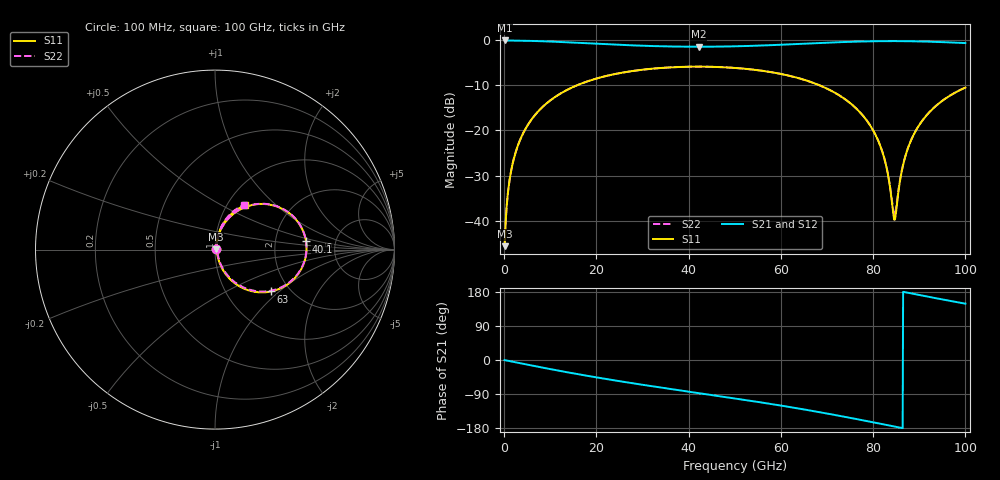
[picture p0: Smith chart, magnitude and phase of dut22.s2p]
! Touchstone file exported from HFSS 2026.1.0
!  File:  C:/ffzhzh/LocalFiles/Ansys_Project_Files/temp_train_RDL_22_1783497846_44152.aedt
!  Generated:  04:06:06 PM Jul  8, 2026
!  Design:  RDL
!  Project:  temp_train_RDL_22_1783497846_44152
! Variables:
!  h_bsmrdl = 2um
!  h_ox = 20um
!  h_rdl = 5um
!  h_sub = 80um
!  h_tmrdl = 2.05um
!  h_tsv = 80um
!  h_via = 3um
!  l_bsmrdl = 300um
!  l_sub = 1084.61um
!  l_tmrdl = 684.61um
!  m_sub = 200um
!  pitch = 52.06um
!  r_tsv = 6um
!  s_tmrdl = 10um
!  w_bsmrdl = 18um
!  w_sub = 500um
!  w_tmrdl = 28.79um
!  x_tsv_center1 = 699.005um
!  x_tsv_center2 = 1017.005um
!  x_tsv_center3 = 1730.405um
!  x_tsv_center4 = 2048.405um
!  x_tsv_center5 = 2761.805um
!  x_tsv_center6 = 3079.805um
# GHz S MA R 50.000000
! Terminal data exported
! Port[1] = TM_RDL1_1_T1
! Port[2] = TM_RDL1_1_T2
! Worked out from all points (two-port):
!   1000 points, 100 MHz to 100 GHz, reference 50 ohm
!   highest |S21| = -0.04 dB at 100 MHz (marker M1); lowest = -1.4 dB at 42.2 GHz (marker M2)
!   |S21| within 3 dB of the highest: start of sweep to end of sweep
!   lowest |S11| = -45.7 dB at 100 MHz (marker M3), VSWR 1.01, Z = 50.5 + j0.261 ohm
!   |S11| at or under -10 dB: start of sweep to 15.76 GHz; 68.41 GHz to end of sweep
!   |S22| runs from -45.7 to -5.8 dB; largest |S21 - S12| = 1.8e-14
!   S11 on the Smith chart (normalised r, x): 100 MHz: 1.01, +0.01; 40.1 GHz: 3.02, +0.37; 63 GHz: 1.61, -0.89; 100 GHz: 1.21, +0.66
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0.1  0.005212 29.7  0.9955 -0.3  0.9955 -0.3  0.005212 29.7
! Gamma 0 0 0 0
! Port Impedance 50 0 50 0
0.9  0.02213 72.5  0.9939 -2.3  0.9939 -2.3  0.02212 72.6
1.6  0.03753 76.5  0.993 -4.0  0.993 -4.0  0.03753 76.5
4.3  0.09713 75.4  0.9884 -10.5  0.9884 -10.5  0.09712 75.4
9.2  0.1997 65.4  0.9717 -22.2  0.9717 -22.2  0.1997 65.6
16.8  0.3321 49.0  0.933 -39.2  0.933 -39.2  0.3321 49.2
33.4  0.4905 17.0  0.8596 -71.7  0.8596 -71.7  0.4905 17.5
40.1  0.5092 5.1  0.8488 -83.7  0.8488 -83.7  0.5091 5.7
42.2  0.5102 1.5  0.8482 -87.4  0.8482 -87.4  0.5101 2.1
50.1  0.4934 -12.5  0.8574 -101.5  0.8574 -101.5  0.4934 -11.7
63  0.3905 -36.7  0.9061 -126.3  0.9061 -126.3  0.3904 -35.7
66.7  0.3418 -44.1  0.9243 -134.1  0.9243 -134.1  0.3417 -43.0
73.3  0.2334 -57.8  0.955 -148.7  0.955 -148.7  0.2333 -56.5
78.2  0.1377 -67.4  0.9715 -160.1  0.9715 -160.1  0.1377 -65.8
81.4  0.07065 -70.9  0.9776 -167.8  0.9776 -167.8  0.07077 -68.7
83.4  0.02865 -63.2  0.9791 -172.6  0.9791 -172.6  0.02909 -59.4
84.3  0.0125 -31.7  0.9792 -174.8  0.9792 -174.8  0.0136 -26.9
84.7  0.01027 10.8  0.9791 -175.7  0.9791 -175.7  0.01165 11.4
86.7  0.04579 75.3  0.9776 179.4  0.9776 179.4  0.0462 74.8
89.3  0.1005 76.1  0.9731 173.2  0.9731 173.2  0.1007 76.6
93.7  0.1889 68.6  0.9594 162.8  0.9594 162.8  0.1891 69.5
100  0.299 55.6  0.9313 148.6  0.9313 148.6  0.2991 56.8
